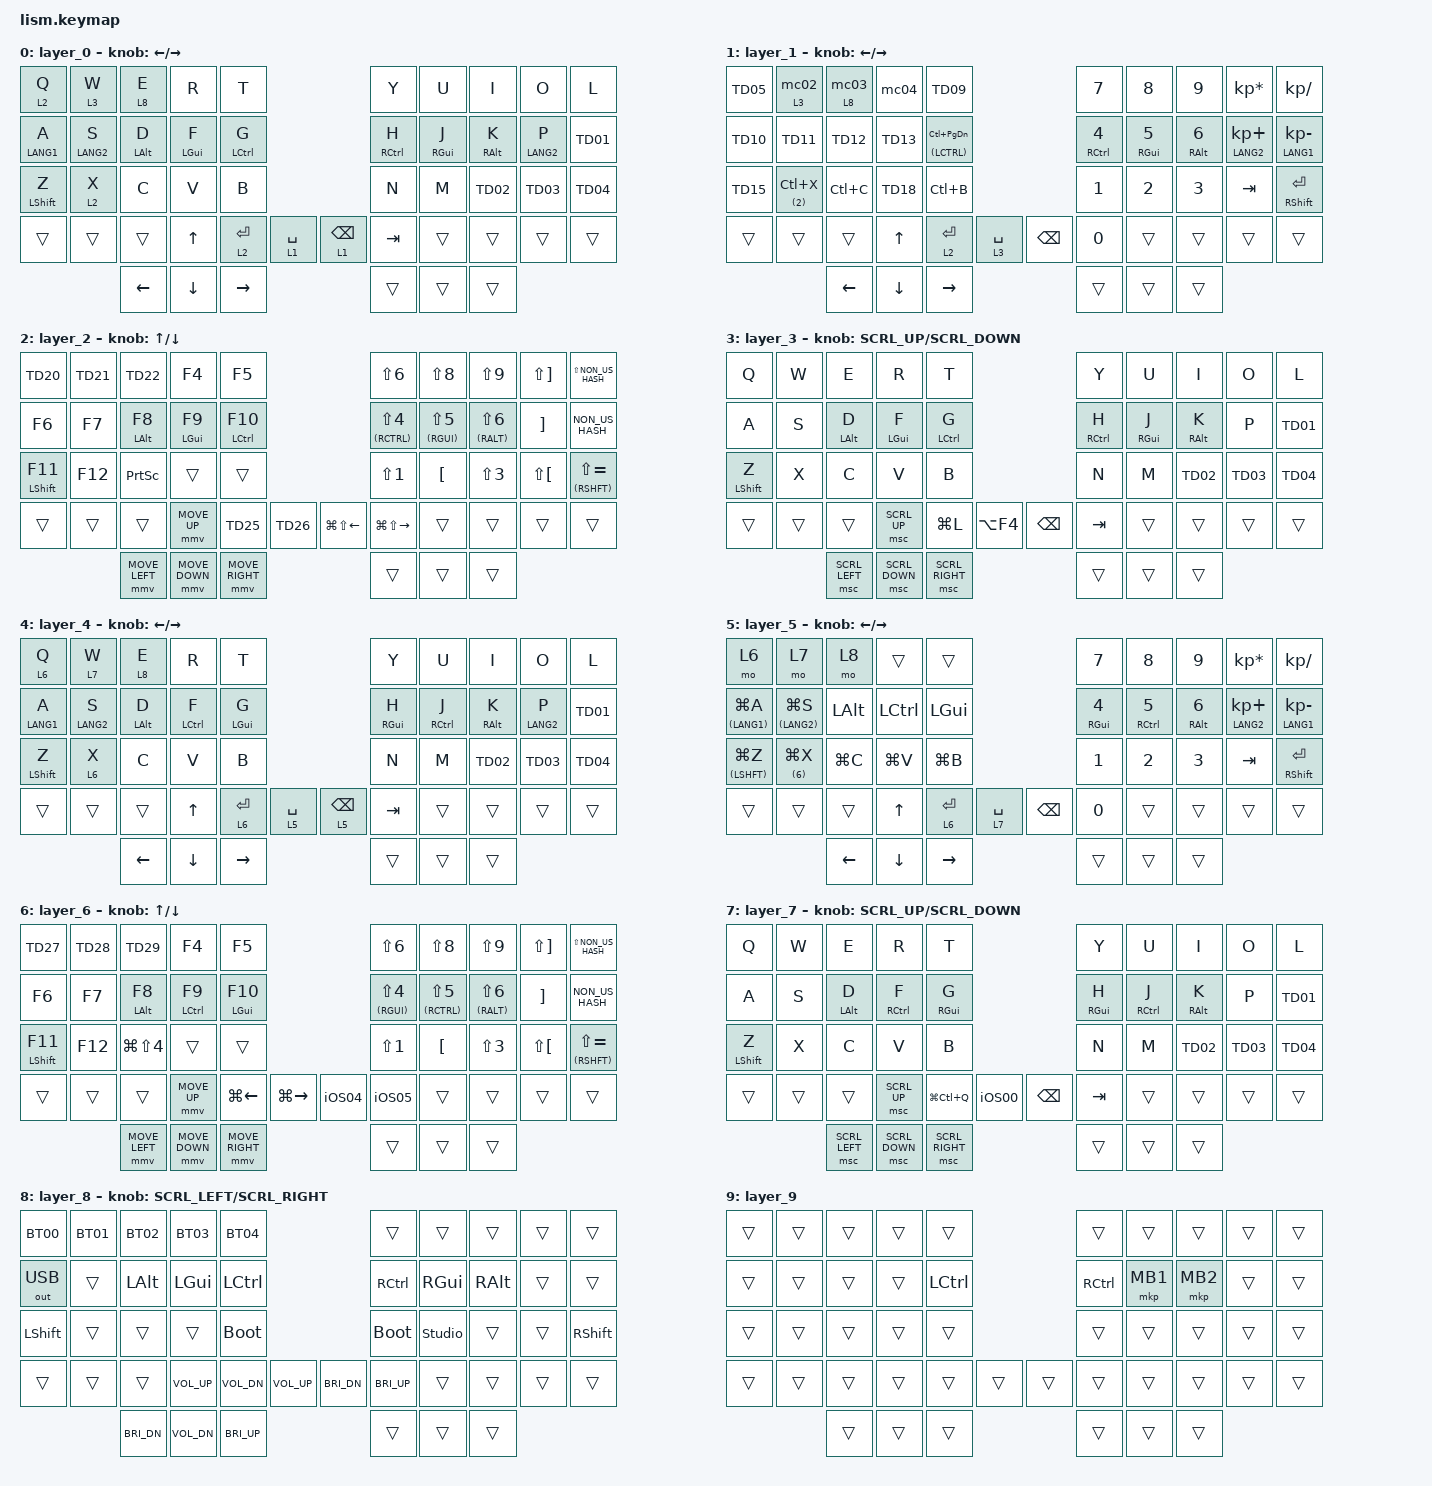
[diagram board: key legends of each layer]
#define ZMK_POINTING_DEFAULT_SCRL_VAL 200

#include <behaviors.dtsi>
#include <dt-bindings/zmk/bt.h>
#include <dt-bindings/zmk/keys.h>
#include <dt-bindings/zmk/pointing.h>
#include <dt-bindings/zmk/mouse.h>

&mt {
    tapping-term-ms = <300>;
    require-prior-idle-ms = <200>;
    flavor = "tap-preferred";
};

&lt {
    tapping-term-ms = <300>;
    require-prior-idle-ms = <200>;
    flavor = "tap-preferred";
};

/ {
    behaviors {
        encoder_msc: sensor_rotate_msc {
            compatible = "zmk,behavior-sensor-rotate-var";
            #sensor-binding-cells = <2>;
            bindings = <&msc>, <&msc>;

            tap-ms = <20>;
        };

        encoder_kp: sensor_rotate_kp {
            compatible = "zmk,behavior-sensor-rotate-var";
            #sensor-binding-cells = <2>;
            bindings = <&kp>, <&kp>;
        };

        us_minus: us_minus {
            compatible = "zmk,behavior-mod-morph";
            label = "US_MINUS";
            bindings = <&kp MINUS>, <&kp LS(INT1)>;

            #binding-cells = <0>;
            mods = <(MOD_LSFT|MOD_RSFT)>;
        };

        us_equal: us_equal {
            compatible = "zmk,behavior-mod-morph";
            label = "US_EQUAL";
            bindings = <&kp LS(MINUS)>, <&kp LS(SEMI)>;

            #binding-cells = <0>;
            mods = <(MOD_LSFT|MOD_RSFT)>;
        };

        us_semicolon: us_semicolon {
            compatible = "zmk,behavior-mod-morph";
            label = "US_SEMICOLON";
            bindings = <&kp SEMI>, <&kp LS(N2)>;

            #binding-cells = <0>;
            mods = <(MOD_LSFT|MOD_RSFT)>;
        };

        us_colon: us_colon {
            compatible = "zmk,behavior-mod-morph";
            label = "US_COLON";
            bindings = <&kp APOS>, <&kp LS(N7)>;

            #binding-cells = <0>;
            mods = <(MOD_LSFT|MOD_RSFT)>;
        };

        TD00: TD00 {
            compatible = "zmk,behavior-tap-dance";
            label = "TD00";
            #binding-cells = <0>;
            bindings = <&none>;
            tapping-term-ms = <300>;
        };

        TD01: TD01 {
            compatible = "zmk,behavior-tap-dance";
            label = "TD01";
            #binding-cells = <0>;
            bindings = <&HT00 LANG1 0>, <&us_equal>;

            tapping-term-ms = <300>;
        };

        TD02: TD02 {
            compatible = "zmk,behavior-tap-dance";
            label = "TD02";
            #binding-cells = <0>;
            bindings = <&kp COMMA>, <&us_semicolon>;

            tapping-term-ms = <300>;
        };

        TD03: TD03 {
            compatible = "zmk,behavior-tap-dance";
            label = "TD03";
            #binding-cells = <0>;
            bindings = <&kp DOT>, <&us_colon>;

            tapping-term-ms = <300>;
        };

        TD04: TD04 {
            compatible = "zmk,behavior-tap-dance";
            label = "TD04";
            #binding-cells = <0>;
            bindings = <&mt RSHFT SLASH>, <&kp INT3>;

            tapping-term-ms = <300>;
        };

        TD05: TD05 {
            compatible = "zmk,behavior-tap-dance";
            label = "TD05";
            #binding-cells = <0>;
            bindings = <&HT01 2 0>, <&kp LC(LS(F1))>;

            tapping-term-ms = <300>;
        };

        TD06: TD06 {
            compatible = "zmk,behavior-tap-dance";
            label = "TD06";
            #binding-cells = <0>;
            bindings = <&none>;
            tapping-term-ms = <300>;
        };

        TD07: TD07 {
            compatible = "zmk,behavior-tap-dance";
            label = "TD07";
            #binding-cells = <0>;
            bindings = <&none>;
            tapping-term-ms = <300>;
        };

        TD08: TD08 {
            compatible = "zmk,behavior-tap-dance";
            label = "TD08";
            #binding-cells = <0>;
            bindings = <&none>;
            tapping-term-ms = <300>;
        };

        TD09: TD09 {
            compatible = "zmk,behavior-tap-dance";
            label = "TD09";
            #binding-cells = <0>;
            bindings = <&mc05>, <&mc06>;

            tapping-term-ms = <300>;
        };

        TD10: TD10 {
            compatible = "zmk,behavior-tap-dance";
            label = "TD10";
            #binding-cells = <0>;
            bindings = <&mt (LANG1) LC(A)>, <&mc09>;

            tapping-term-ms = <300>;
        };

        TD11: TD11 {
            compatible = "zmk,behavior-tap-dance";
            label = "TD11";
            #binding-cells = <0>;
            bindings = <&mt (LANG2) LC(S)>, <&mc10>;

            tapping-term-ms = <300>;
        };

        TD12: TD12 {
            compatible = "zmk,behavior-tap-dance";
            label = "TD12";
            #binding-cells = <0>;
            bindings = <&mt (LALT) LC(D)>, <&mc11>;

            tapping-term-ms = <300>;
        };

        TD13: TD13 {
            compatible = "zmk,behavior-tap-dance";
            label = "TD13";
            #binding-cells = <0>;
            bindings = <&mt (LGUI) LC(PG_UP)>, <&mc07>;

            tapping-term-ms = <300>;
        };

        TD14: TD14 {
            compatible = "zmk,behavior-tap-dance";
            label = "TD14";
            #binding-cells = <0>;
            bindings = <&none>;
            tapping-term-ms = <300>;
        };

        TD15: TD15 {
            compatible = "zmk,behavior-tap-dance";
            label = "TD15";
            #binding-cells = <0>;
            bindings = <&mt (LSHFT) LC(Z)>, <&kp LC(N1)>;

            tapping-term-ms = <300>;
        };

        TD16: TD16 {
            compatible = "zmk,behavior-tap-dance";
            label = "TD16";
            #binding-cells = <0>;
            bindings = <&none>;
            tapping-term-ms = <300>;
        };

        TD17: TD17 {
            compatible = "zmk,behavior-tap-dance";
            label = "TD17";
            #binding-cells = <0>;
            bindings = <&none>;
            tapping-term-ms = <300>;
        };

        TD18: TD18 {
            compatible = "zmk,behavior-tap-dance";
            label = "TD18";
            #binding-cells = <0>;
            bindings = <&kp LC(V)>, <&mc08>;

            tapping-term-ms = <300>;
        };

        TD19: TD19 {
            compatible = "zmk,behavior-tap-dance";
            label = "TD19";
            #binding-cells = <0>;
            bindings = <&none>;
            tapping-term-ms = <300>;
        };

        TD20: TD20 {
            compatible = "zmk,behavior-tap-dance";
            label = "TD20";
            #binding-cells = <0>;
            bindings = <&none>, <&kp LC(LA(TAB))>;

            tapping-term-ms = <300>;
        };

        TD21: TD21 {
            compatible = "zmk,behavior-tap-dance";
            label = "TD21";
            #binding-cells = <0>;
            bindings = <&kp F2>, <&kp LG(T)>;

            tapping-term-ms = <300>;
        };

        TD22: TD22 {
            compatible = "zmk,behavior-tap-dance";
            label = "TD22";
            #binding-cells = <0>;
            bindings = <&kp F3>, <&kp LG(A)>;

            tapping-term-ms = <300>;
        };

        TD23: TD23 {
            compatible = "zmk,behavior-tap-dance";
            label = "TD23";
            #binding-cells = <0>;
            bindings = <&none>;
            tapping-term-ms = <300>;
        };

        TD24: TD24 {
            compatible = "zmk,behavior-tap-dance";
            label = "TD24";
            #binding-cells = <0>;
            bindings = <&none>;
            tapping-term-ms = <300>;
        };

        TD25: TD25 {
            compatible = "zmk,behavior-tap-dance";
            label = "TD25";
            #binding-cells = <0>;
            bindings = <&kp LC(LG(LEFT))>, <&kp LC(LG(LA(LEFT)))>;

            tapping-term-ms = <300>;
        };

        TD26: TD26 {
            compatible = "zmk,behavior-tap-dance";
            label = "TD26";
            #binding-cells = <0>;
            bindings = <&kp LC(LG(RIGHT))>, <&kp LC(LG(LA(RIGHT)))>;

            tapping-term-ms = <300>;
        };

        TD27: TD27 {
            compatible = "zmk,behavior-tap-dance";
            label = "TD27";
            #binding-cells = <0>;
            bindings = <&none>, <&iOS03>;

            tapping-term-ms = <300>;
        };

        TD28: TD28 {
            compatible = "zmk,behavior-tap-dance";
            label = "TD28";
            #binding-cells = <0>;
            bindings = <&kp F2>, <&iOS02>;

            tapping-term-ms = <300>;
        };

        TD29: TD29 {
            compatible = "zmk,behavior-tap-dance";
            label = "TD29";
            #binding-cells = <0>;
            bindings = <&kp F3>, <&iOS01>;

            tapping-term-ms = <300>;
        };

        TD30: TD30 {
            compatible = "zmk,behavior-tap-dance";
            label = "TD30";
            #binding-cells = <0>;
            bindings = <&none>;
            tapping-term-ms = <300>;
        };

        TD31: TD31 {
            compatible = "zmk,behavior-tap-dance";
            label = "TD31";
            #binding-cells = <0>;
            bindings = <&none>;
            tapping-term-ms = <300>;
        };

        HT00: HT00 {
            compatible = "zmk,behavior-hold-tap";
            label = "HT00";
            bindings = <&kp>, <&us_minus>;

            #binding-cells = <2>;
            tapping-term-ms = <300>;
            flavor = "tap-preferred";
        };

        HT01: HT01 {
            compatible = "zmk,behavior-hold-tap";
            label = "HT01";
            bindings = <&mo>, <&mc01>;

            #binding-cells = <2>;
            tapping-term-ms = <300>;
            flavor = "tap-preferred";
        };

        HT02: HT02 {
            compatible = "zmk,behavior-hold-tap";
            label = "HT02";
            bindings = <&mo>, <&mc02>;

            #binding-cells = <2>;
            tapping-term-ms = <300>;
            flavor = "tap-preferred";
        };

        HT03: HT03 {
            compatible = "zmk,behavior-hold-tap";
            label = "HT03";
            bindings = <&mo>, <&mc03>;

            #binding-cells = <2>;
            tapping-term-ms = <300>;
            flavor = "tap-preferred";
        };
    };

    macros {
        BT00: BT00 {
            compatible = "zmk,behavior-macro";
            #binding-cells = <0>;
            bindings = <&out OUT_BLE &bt BT_SEL 0 &to 0>;
            label = "BT00";
        };

        BT01: BT01 {
            compatible = "zmk,behavior-macro";
            #binding-cells = <0>;
            bindings = <&out OUT_BLE &bt BT_SEL 1 &to 4>;
            label = "BT01";
        };

        BT02: BT02 {
            compatible = "zmk,behavior-macro";
            #binding-cells = <0>;
            bindings = <&out OUT_BLE &bt BT_SEL 2 &to 4>;
            label = "BT02";
        };

        BT03: BT03 {
            compatible = "zmk,behavior-macro";
            #binding-cells = <0>;
            bindings = <&out OUT_BLE &bt BT_SEL 3 &to 0>;
            label = "BT03";
        };

        BT04: BT04 {
            compatible = "zmk,behavior-macro";
            #binding-cells = <0>;
            bindings = <&out OUT_BLE &bt BT_SEL 4 &to 0>;
            label = "BT04";
        };

        mc00: mc00 {
            compatible = "zmk,behavior-macro";
            #binding-cells = <0>;
            bindings = <&kp LS(N8) &kp LS(N9) &kp LEFT>;
            label = "MC00";
        };

        mc01: mc01 {
            compatible = "zmk,behavior-macro";
            #binding-cells = <0>;
            bindings =
                <&macro_pause_for_release>,
                <&kp LANG2 &kp N1 &kp LC(RET)>;

            label = "MC01";
        };

        mc02: mc02 {
            compatible = "zmk,behavior-macro";
            #binding-cells = <0>;
            bindings =
                <&macro_pause_for_release>,
                <&kp LANG2 &kp N2 &kp LC(RET)>;

            label = "MC02";
        };

        mc03: mc03 {
            compatible = "zmk,behavior-macro";
            #binding-cells = <0>;
            bindings =
                <&macro_pause_for_release>,
                <&kp LANG2 &kp N3 &kp LC(RET)>;

            label = "MC03";
        };

        mc04: mc04 {
            compatible = "zmk,behavior-macro";
            #binding-cells = <0>;
            bindings =
                <&macro_pause_for_release>,
                <&kp LANG2 &kp COMMA &kp LC(RET)>;

            label = "MC04";
        };

        mc05: mc05 {
            compatible = "zmk,behavior-macro";
            #binding-cells = <0>;
            bindings =
                <&macro_pause_for_release>,
                <&kp LANG2 &kp DOT &kp LC(RET)>;

            label = "MC05";
        };

        mc06: mc06 {
            compatible = "zmk,behavior-macro";
            #binding-cells = <0>;
            bindings =
                <&macro_pause_for_release>,
                <&kp LC(LA(V)) &kp T &kp RET>;

            label = "MC06";
        };

        mc07: mc07 {
            compatible = "zmk,behavior-macro";
            #binding-cells = <0>;
            bindings =
                <&macro_pause_for_release>,
                <&kp LC(LA(V)) &kp F &kp RET>;

            label = "MC07";
        };

        mc08: mc08 {
            compatible = "zmk,behavior-macro";
            #binding-cells = <0>;
            bindings =
                <&macro_pause_for_release>,
                <&kp LC(LA(V)) &kp V &kp RET>;

            label = "MC08";
        };

        mc09: mc09 {
            compatible = "zmk,behavior-macro";
            #binding-cells = <0>;
            bindings = <&kp LA(H) &kp A &kp L>;
            label = "MC09";
        };

        mc10: mc10 {
            compatible = "zmk,behavior-macro";
            #binding-cells = <0>;
            bindings = <&kp LA(H) &kp A &kp C>;
            label = "MC10";
        };

        mc11: mc11 {
            compatible = "zmk,behavior-macro";
            #binding-cells = <0>;
            bindings = <&kp LA(H) &kp A &kp R>;
            label = "MC11";
        };

        iOS00: iOS00 {
            compatible = "zmk,behavior-macro";
            #binding-cells = <0>;
            bindings =
                <&macro_press>,
                <&kp GLOBE &kp H>,
                <&macro_release>,
                <&kp GLOBE>;

            label = "IOS00";
        };

        iOS01: iOS01 {
            compatible = "zmk,behavior-macro";
            #binding-cells = <0>;
            bindings =
                <&macro_press>,
                <&kp GLOBE &kp C>,
                <&macro_release>,
                <&kp GLOBE>;

            label = "IOS01";
        };

        iOS02: iOS02 {
            compatible = "zmk,behavior-macro";
            #binding-cells = <0>;
            bindings =
                <&macro_press>,
                <&kp GLOBE &kp A>,
                <&macro_release>,
                <&kp GLOBE>;

            label = "IOS02";
        };

        iOS03: iOS03 {
            compatible = "zmk,behavior-macro";
            #binding-cells = <0>;
            bindings =
                <&macro_press>,
                <&kp GLOBE &kp UP>,
                <&macro_release>,
                <&kp GLOBE>;

            label = "IOS03";
        };

        iOS04: iOS04 {
            compatible = "zmk,behavior-macro";
            #binding-cells = <0>;
            bindings =
                <&macro_press>,
                <&kp GLOBE &kp LEFT>,
                <&macro_release>,
                <&kp GLOBE>;

            label = "IOS04";
        };

        iOS05: iOS05 {
            compatible = "zmk,behavior-macro";
            #binding-cells = <0>;
            bindings =
                <&macro_press>,
                <&kp GLOBE &kp RIGHT>,
                <&macro_release>,
                <&kp GLOBE>;

            label = "IOS05";
        };
    };

    combos {
        compatible = "zmk,combos";

        combo00 {
            bindings = <&kp ESC>;
            key-positions = <0 1>;
        };

        combo01 {
            bindings = <&kp TAB>;
            key-positions = <10 11>;
        };

        combo02 {
            bindings = <&kp CAPS>;
            key-positions = <20 21>;
        };

        combo03 {
            bindings = <&kp HOME>;
            key-positions = <3 4>;
        };

        combo04 {
            bindings = <&kp END>;
            key-positions = <13 14>;
        };

        combo05 {
            bindings = <&mo 8>;
            key-positions = <34 35>;
        };

        combo06 {
            bindings = <&kp MINUS>;
            key-positions = <16 15>;
        };

        combo07 {
            bindings = <&mo 8>;
            key-positions = <16 17>;
        };

        combo08 {
            bindings = <&mc00>;
            key-positions = <17 18>;
        };

        combo09 {
            bindings = <&kp APOS>;
            key-positions = <26 25>;
            layers = <1 5>;
        };

        combo10 {
            bindings = <&kp DOT>;
            key-positions = <27 26>;
            layers = <1 5>;
        };

        combo11 {
            bindings = <&kp COMMA>;
            key-positions = <28 27>;
            layers = <1 5>;
        };

        combo12 {
            bindings = <&tog 1>;
            key-positions = <28 29>;
            layers = <0 1>;
        };

        combo13 {
            bindings = <&tog 5>;
            key-positions = <28 29>;
            layers = <4 5>;
        };

        combo14 {
            bindings = <&kp SPACE>;
            key-positions = <36 37>;
        };

        combo15 {
            bindings = <&kp DEL>;
            key-positions = <10 0>;
        };

        combo16 {
            bindings = <&kp BACKSPACE>;
            key-positions = <10 20>;
        };

        combo17 {
            bindings = <&mkp MB1>;
            key-positions = <1 11>;
        };

        combo18 {
            bindings = <&mkp MB2>;
            key-positions = <2 12>;
        };

        combo19 {
            bindings = <&mkp MB4>;
            key-positions = <5 15>;
        };
    };

    keymap {
        compatible = "zmk,keymap";

        layer_0 {
            bindings = <
&lt 2 Q      &lt 3 W      &lt 8 E     &kp R       &kp T                                        &kp Y        &kp U       &kp I       &kp O        &kp L
&mt LANG1 A  &mt LANG2 S  &mt LALT D  &mt LGUI F  &mt LCTRL G                                  &mt RCTRL H  &mt RGUI J  &mt RALT K  &mt LANG2 P  &TD01
&mt LSHFT Z  &lt 2 X      &kp C       &kp V       &kp B                                        &kp N        &kp M       &TD02       &TD03        &TD04
&trans       &trans       &trans      &kp UP      &lt 2 RET    &lt 1 SPACE    &lt 1 BACKSPACE  &kp TAB      &trans      &trans      &trans       &trans
                          &kp LEFT    &kp DOWN    &kp RIGHT                                    &trans       &trans      &trans
            >;

            sensor-bindings = <&encoder_kp LEFT RIGHT>;
        };

        layer_1 {
            bindings = <
&TD05   &HT02 3 0      &HT03 8 0  &mc04     &TD09                                           &kp N7        &kp N8       &kp N9       &kp KP_ASTERISK    &kp KP_SLASH
&TD10   &TD11          &TD12      &TD13     &mt (LCTRL) LC(PG_DN)                           &mt RCTRL N4  &mt RGUI N5  &mt RALT N6  &mt LANG2 KP_PLUS  &mt LANG1 KP_MINUS
&TD15   &lt (2) LC(X)  &kp LC(C)  &TD18     &kp LC(B)                                       &kp N1        &kp N2       &kp N3       &kp TAB            &mt RSHFT RET
&trans  &trans         &trans     &kp UP    &lt 2 RET              &lt 3 SPACE    &kp BSPC  &kp N0        &trans       &trans       &trans             &trans
                       &kp LEFT   &kp DOWN  &kp RIGHT                                       &trans        &trans       &trans
            >;

            sensor-bindings = <&encoder_kp LEFT RIGHT>;
        };

        layer_2 {
            bindings = <
&TD20          &TD21    &TD22            &kp F4          &kp F5                                      &kp LS(N6)          &kp LS(N8)         &kp LS(N9)         &kp LS(RBKT)  &kp LS(NON_US_HASH)
&kp F6         &kp F7   &mt LALT F8      &mt LGUI F9     &mt LCTRL F10                               &mt (RCTRL) LS(N4)  &mt (RGUI) LS(N5)  &mt (RALT) LS(N6)  &kp RBKT      &kp NON_US_HASH
&mt LSHFT F11  &kp F12  &kp PRINTSCREEN  &trans          &trans                                      &kp LS(N1)          &kp LBKT           &kp LS(N3)         &kp LS(LBKT)  &mt (RSHFT) LS(EQUAL)
&trans         &trans   &trans           &mmv MOVE_UP    &TD25            &TD26    &kp LG(LS(LEFT))  &kp LG(LS(RIGHT))   &trans             &trans             &trans        &trans
                        &mmv MOVE_LEFT   &mmv MOVE_DOWN  &mmv MOVE_RIGHT                             &trans              &trans             &trans
            >;

            sensor-bindings = <&inc_dec_kp UP DOWN>;
        };

        layer_3 {
            bindings = <
&kp Q        &kp W   &kp E           &kp R           &kp T                                    &kp Y        &kp U       &kp I       &kp O   &kp L
&kp A        &kp S   &mt LALT D      &mt LGUI F      &mt LCTRL G                              &mt RCTRL H  &mt RGUI J  &mt RALT K  &kp P   &TD01
&mt LSHFT Z  &kp X   &kp C           &kp V           &kp B                                    &kp N        &kp M       &TD02       &TD03   &TD04
&trans       &trans  &trans          &msc SCRL_UP    &kp LG(L)        &kp LA(F4)    &kp BSPC  &kp TAB      &trans      &trans      &trans  &trans
                     &msc SCRL_LEFT  &msc SCRL_DOWN  &msc SCRL_RIGHT                          &trans       &trans      &trans
            >;

            sensor-bindings = <&encoder_msc SCRL_UP SCRL_DOWN>;
        };

        layer_4 {
            bindings = <
&lt 6 Q      &lt 7 W      &lt 8 E     &kp R        &kp T                                       &kp Y       &kp U        &kp I       &kp O        &kp L
&mt LANG1 A  &mt LANG2 S  &mt LALT D  &mt LCTRL F  &mt LGUI G                                  &mt RGUI H  &mt RCTRL J  &mt RALT K  &mt LANG2 P  &TD01
&mt LSHFT Z  &lt 6 X      &kp C       &kp V        &kp B                                       &kp N       &kp M        &TD02       &TD03        &TD04
&trans       &trans       &trans      &kp UP       &lt 6 RET   &lt 5 SPACE    &lt 5 BACKSPACE  &kp TAB     &trans       &trans      &trans       &trans
                          &kp LEFT    &kp DOWN     &kp RIGHT                                   &trans      &trans       &trans
            >;

            sensor-bindings = <&encoder_kp LEFT RIGHT>;
        };

        layer_5 {
            bindings = <
&mo 6              &mo 7              &mo 8      &trans     &trans                              &kp N7       &kp N8        &kp N9       &kp KP_ASTERISK    &kp KP_SLASH
&mt (LANG1) LG(A)  &mt (LANG2) LG(S)  &kp LALT   &kp LCTRL  &kp LGUI                            &mt RGUI N4  &mt RCTRL N5  &mt RALT N6  &mt LANG2 KP_PLUS  &mt LANG1 KP_MINUS
&mt (LSHFT) LG(Z)  &lt (6) LG(X)      &kp LG(C)  &kp LG(V)  &kp LG(B)                           &kp N1       &kp N2        &kp N3       &kp TAB            &mt RSHFT RET
&trans             &trans             &trans     &kp UP     &lt 6 RET  &lt 7 SPACE    &kp BSPC  &kp N0       &trans        &trans       &trans             &trans
                                      &kp LEFT   &kp DOWN   &kp RIGHT                           &trans       &trans        &trans
            >;

            sensor-bindings = <&encoder_kp LEFT RIGHT>;
        };

        layer_6 {
            bindings = <
&TD27          &TD28    &TD29           &kp F4          &kp F5                                    &kp LS(N6)         &kp LS(N8)          &kp LS(N9)         &kp LS(RBKT)  &kp LS(NON_US_HASH)
&kp F6         &kp F7   &mt LALT F8     &mt LCTRL F9    &mt LGUI F10                              &mt (RGUI) LS(N4)  &mt (RCTRL) LS(N5)  &mt (RALT) LS(N6)  &kp RBKT      &kp NON_US_HASH
&mt LSHFT F11  &kp F12  &kp LG(LS(N4))  &trans          &trans                                    &kp LS(N1)         &kp LBKT            &kp LS(N3)         &kp LS(LBKT)  &mt (RSHFT) LS(EQUAL)
&trans         &trans   &trans          &mmv MOVE_UP    &kp LG(LEFT)     &kp LG(RIGHT)    &iOS04  &iOS05             &trans              &trans             &trans        &trans
                        &mmv MOVE_LEFT  &mmv MOVE_DOWN  &mmv MOVE_RIGHT                           &trans             &trans              &trans
            >;

            sensor-bindings = <&inc_dec_kp UP DOWN>;
        };

        layer_7 {
            bindings = <
&kp Q        &kp W   &kp E           &kp R           &kp T                                &kp Y       &kp U        &kp I       &kp O   &kp L
&kp A        &kp S   &mt LALT D      &mt RCTRL F     &mt RGUI G                           &mt RGUI H  &mt RCTRL J  &mt RALT K  &kp P   &TD01
&mt LSHFT Z  &kp X   &kp C           &kp V           &kp B                                &kp N       &kp M        &TD02       &TD03   &TD04
&trans       &trans  &trans          &msc SCRL_UP    &kp LG(LC(Q))    &iOS00    &kp BSPC  &kp TAB     &trans       &trans      &trans  &trans
                     &msc SCRL_LEFT  &msc SCRL_DOWN  &msc SCRL_RIGHT                      &trans      &trans       &trans
            >;

            sensor-bindings = <&encoder_msc SCRL_UP SCRL_DOWN>;
        };

        layer_8 {
            bindings = <
&BT00         &BT01   &BT02         &BT03         &BT04                                       &trans        &trans          &trans    &trans  &trans
&out OUT_USB  &trans  &kp LALT      &kp LGUI      &kp LCTRL                                   &kp RCTRL     &kp RGUI        &kp RALT  &trans  &trans
&kp LSHFT     &trans  &trans        &trans        &bootloader                                 &bootloader   &studio_unlock  &trans    &trans  &kp RSHFT
&trans        &trans  &trans        &kp C_VOL_UP  &kp C_VOL_DN  &kp C_VOL_UP    &kp C_BRI_DN  &kp C_BRI_UP  &trans          &trans    &trans  &trans
                      &kp C_BRI_DN  &kp C_VOL_DN  &kp C_BRI_UP                                &trans        &trans          &trans
            >;

            sensor-bindings = <&encoder_msc SCRL_LEFT SCRL_RIGHT>;
        };

        layer_9 {
            bindings = <
&trans  &trans  &trans  &trans  &trans                       &trans     &trans    &trans    &trans  &trans
&trans  &trans  &trans  &trans  &kp LCTRL                    &kp RCTRL  &mkp MB1  &mkp MB2  &trans  &trans
&trans  &trans  &trans  &trans  &trans                       &trans     &trans    &trans    &trans  &trans
&trans  &trans  &trans  &trans  &trans     &trans    &trans  &trans     &trans    &trans    &trans  &trans
                &trans  &trans  &trans                       &trans     &trans    &trans
            >;
        };
    };
};
